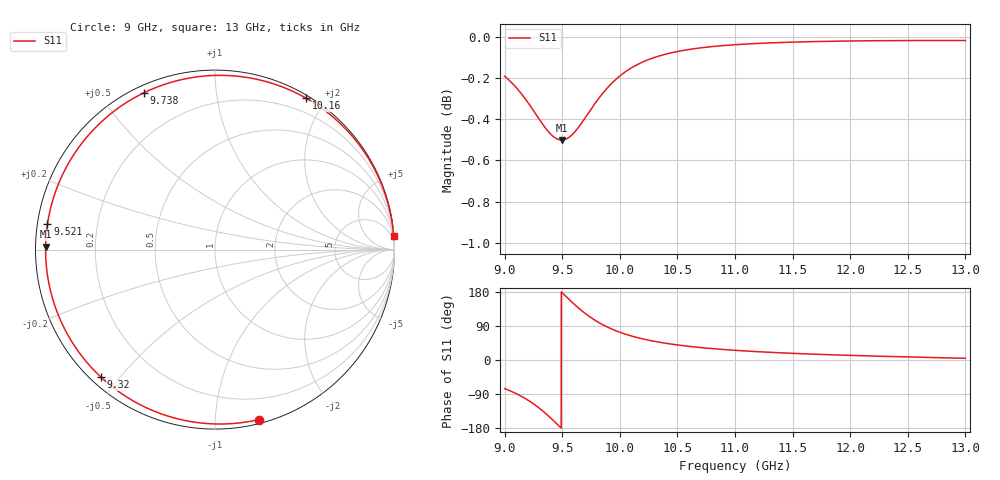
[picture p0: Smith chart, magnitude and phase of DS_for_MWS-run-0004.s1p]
! TOUCHSTONE file generated by CST DESIGN STUDIO
! Date and time: Tue Feb  4 16:39:52 2025
! Project name: C:\Work\MatlabApps\UnitCellOptimizationMatlab\CST\unitcell.cst
! Tree item: Tasks\Sweep1\SPara1\S-Parameters
! Header version: 2024
! Port assignment regex: !\s*Touchstone port\s*([0-9]+)\s*=\s*(CST MWS port|CST DES external port|CST DES block port)\s*(.+)\s* \(\"(.*)\"\)(\s*mode\s*([0-9]+))?.*
! Touchstone port assignment:
! Touchstone port 1 = CST DES external port 1 ("")
# GHz S MA R 50
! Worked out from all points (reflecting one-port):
!   4001 points, 9 GHz to 13 GHz, reference 50 ohm
!   lowest |S11| = -0.5 dB at 9.495 GHz (marker M1), VSWR 34.67, Z = 1.44 + j0.425 ohm
!   phase of S11 starts at -76 deg and turns -280 deg over the sweep
!   S11 on the Smith chart (normalised r, x): 9 GHz: 0.03, -1.29; 9.32 GHz: 0.03, -0.45; 9.521 GHz: 0.03, +0.08; 9.738 GHz: 0.03, +0.64; 10.16 GHz: 0.03, +1.77; 13 GHz: 1, +25
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9  0.9783 -75.6
9.083  0.9733 -86.1
9.184  0.9656 -102.4
9.255  0.9592 -116.6
9.32  0.9532 -131.7
9.366  0.9494 -143.7
9.415  0.9462 -157.4
9.456  0.9445 -169.4
9.495  0.9439 179.0
9.5  0.9439 177.5
9.521  0.9442 171.3
9.574  0.9461 155.8
9.634  0.9501 139.2
9.685  0.9544 126.4
9.738  0.9593 114.3
9.791  0.964 103.7
9.85  0.9688 93.4
9.924  0.974 82.5
10  0.9784 73.3
10.156  0.9848 58.8
10.312  0.9888 48.6
10.5  0.9919 39.7
10.722  0.9941 32.2
11  0.9957 25.5
11.5  0.9971 17.6
12  0.9977 12.2
12.5  0.998 8.0
13  0.998 4.5
